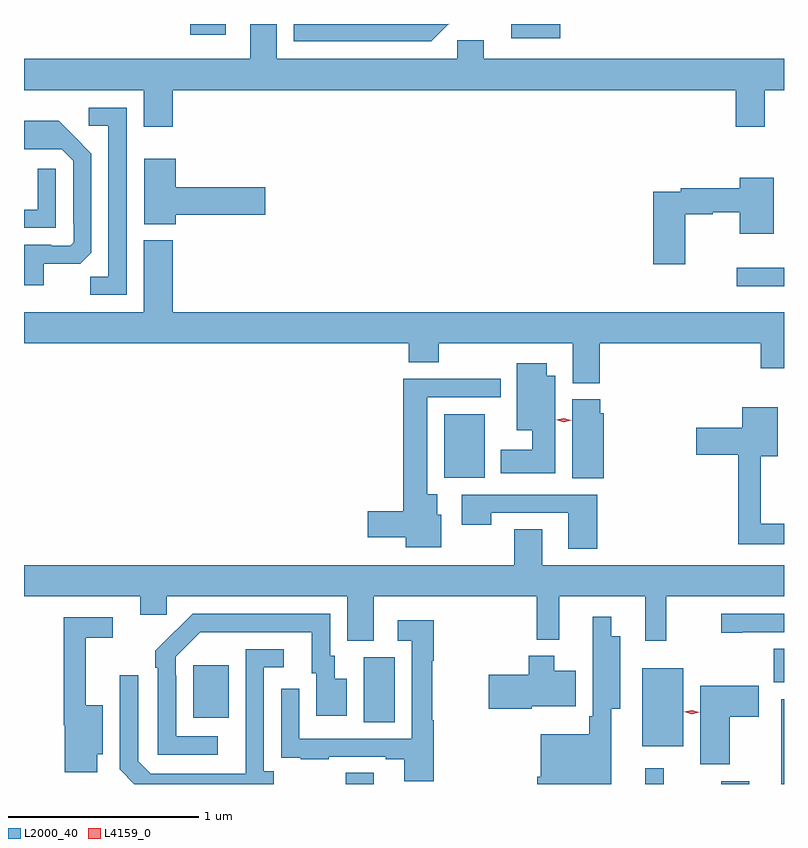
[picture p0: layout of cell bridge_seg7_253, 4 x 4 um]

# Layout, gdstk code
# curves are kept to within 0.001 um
import gdstk
lib = gdstk.Library(unit=1e-6, precision=1e-09)
def R(c, l, rs):  # rectangles x0, y0, x1, y1
    for r in rs: c.add(gdstk.rectangle(r[:2], r[2:], *l))
def P(c, l, *ps):  # polygons
    for p in ps: c.add(gdstk.Polygon(p, *l))
L2000_40 = (2000, 40)
L4159_0 = (4159, 0)

bridge_seg7_253 = lib.new_cell('bridge_seg7_253')
R(bridge_seg7_253, L2000_40, [(172.594,1036.924,172.741,1036.982), (174.17,1036.924,174.269,1037.007), (174.571,1036.924,174.718,1036.939), (174.887,1036.924,174.901,1037.371), (174.155,1037.123,174.37,1037.533), (172.688,1037.248,172.852,1037.592), (171.791,1037.273,171.979,1037.548), (174.848,1037.459,174.901,1037.635), (173.114,1038.536,173.326,1038.871), (174.651,1039.544,174.901,1039.641), (173.466,1040.85,173.723,1040.924), (171.775,1040.868,171.964,1040.924)])
P(bridge_seg7_253, L2000_40, [(173.135,1040.923),(173.136,1040.922),(173.138,1040.924),(172.32,1040.924),(172.32,1040.832),(173.044,1040.832)],
  [(171.683,1040.576),(174.647,1040.576),(174.647,1040.382),(174.799,1040.382),(174.799,1040.576),(174.901,1040.576),(174.901,1040.74),(173.32,1040.74),(173.32,1040.838),(173.181,1040.838),(173.181,1040.74),(172.231,1040.74),(172.231,1040.924),(172.091,1040.924),(172.091,1040.74),(170.901,1040.74),(170.901,1040.576),(171.53,1040.576),(171.53,1040.382),(171.683,1040.382)],
  [(171.441,1040.484),(171.243,1040.484),(171.243,1040.388),(171.345,1040.388),(171.345,1039.595),(171.25,1039.595),(171.25,1039.5),(171.441,1039.5)],
  [(171.004,1039.661),(171.196,1039.661),(171.255,1039.72),(171.255,1040.242),(171.083,1040.416),(170.901,1040.416),(170.901,1040.264),(171.099,1040.265),(171.159,1040.205),(171.159,1039.876),(171.162,1039.876),(171.162,1039.776),(171.144,1039.758),(171.044,1039.758),(171.044,1039.762),(170.901,1039.762),(170.901,1039.55),(171.004,1039.55)],
  [(171.7,1039.919),(172.171,1039.919),(172.171,1040.066),(171.7,1040.066),(171.7,1040.215),(171.533,1040.215),(171.533,1039.871),(171.7,1039.871)],
  [(171.069,1040.161),(170.973,1040.161),(170.973,1039.947),(170.901,1039.947),(170.901,1039.851),(171.069,1039.851)],
  [(174.382,1039.924),(174.525,1039.924),(174.525,1039.932),(174.668,1039.932),(174.668,1039.82),(174.847,1039.82),(174.847,1040.116),(174.668,1040.116),(174.668,1040.06),(174.358,1040.06),(174.358,1040.04),(174.212,1040.04),(174.212,1039.659),(174.382,1039.659)],
  [(173.93,1039.244),(174.779,1039.244),(174.779,1039.113),(174.901,1039.113),(174.901,1039.408),(171.683,1039.408),(171.683,1039.786),(171.53,1039.786),(171.53,1039.408),(170.901,1039.408),(170.901,1039.244),(172.925,1039.244),(172.925,1039.145),(173.085,1039.145),(173.085,1039.244),(173.789,1039.244),(173.789,1039.033),(173.93,1039.033)],
  [(173.698,1039.072),(173.653,1039.072),(173.653,1039.138),(173.495,1039.138),(173.495,1038.785),(173.576,1038.785),(173.576,1038.682),(173.411,1038.682),(173.411,1038.56),(173.698,1038.56)],
  [(173.098,1038.342),(173.077,1038.342),(173.077,1038.448),(173.023,1038.448),(173.023,1038.96),(173.41,1038.96),(173.41,1039.058),(172.898,1039.058),(172.898,1038.359),(172.71,1038.359),(172.71,1038.224),(172.91,1038.224),(172.91,1038.17),(173.098,1038.17)],
  [(173.952,1038.876),(173.933,1038.876),(173.933,1038.948),(173.786,1038.948),(173.786,1038.532),(173.952,1038.532)],
  [(174.901,1038.295),(174.779,1038.295),(174.779,1038.65),(174.868,1038.65),(174.868,1038.907),(174.68,1038.907),(174.68,1038.798),(174.438,1038.798),(174.438,1038.656),(174.661,1038.656),(174.661,1038.186),(174.901,1038.186)],
  [(173.918,1038.447),(173.205,1038.447),(173.205,1038.288),(173.361,1038.288),(173.361,1038.351),(173.765,1038.351),(173.765,1038.162),(173.918,1038.162)],
  [(170.901,1037.912),(171.512,1037.912),(171.512,1037.814),(171.651,1037.814),(171.651,1037.912),(172.601,1037.912),(172.601,1037.677),(172.741,1037.677),(172.741,1037.912),(173.599,1037.912),(173.599,1037.684),(173.717,1037.684),(173.717,1037.912),(174.17,1037.912),(174.17,1037.679),(174.28,1037.679),(174.28,1037.912),(174.901,1037.912),(174.901,1038.076),(173.629,1038.076),(173.629,1038.266),(173.482,1038.266),(173.482,1038.076),(170.901,1038.076)],
  [(171.922,1037.175),(171.702,1037.175),(171.702,1037.495),(171.699,1037.495),(171.699,1037.595),(171.828,1037.724),(172.415,1037.724),(172.415,1037.508),(172.439,1037.508),(172.439,1037.283),(172.6,1037.283),(172.6,1037.479),(172.537,1037.479),(172.537,1037.598),(172.512,1037.598),(172.512,1037.82),(171.788,1037.82),(171.591,1037.625),(171.591,1037.537),(171.606,1037.537),(171.606,1037.079),(171.922,1037.079)],
  [(174.682,1037.724),(174.901,1037.724),(174.901,1037.82),(174.57,1037.82),(174.57,1037.719),(174.682,1037.719)],
  [(173.992,1037.321),(174.04,1037.321),(174.04,1037.701),(173.993,1037.701),(173.993,1037.803),(173.895,1037.803),(173.895,1037.281),(173.875,1037.281),(173.875,1037.185),(173.622,1037.185),(173.622,1036.963),(173.602,1036.963),(173.602,1036.924),(173.992,1036.924)],
  [(171.286,1037.081),(171.316,1037.081),(171.316,1037.338),(171.227,1037.338),(171.227,1037.694),(171.367,1037.694),(171.367,1037.802),(171.109,1037.802),(171.109,1037.234),(171.116,1037.234),(171.116,1036.986),(171.286,1036.986)],
  [(173.057,1037.26),(173.05,1037.26),(173.05,1037.572),(173.057,1037.572),(173.057,1037.785),(172.869,1037.785),(172.869,1037.679),(172.941,1037.679),(172.941,1037.163),(172.35,1037.163),(172.35,1037.425),(172.254,1037.425),(172.254,1037.17),(172.255,1037.17),(172.255,1037.061),(172.357,1037.061),(172.357,1037.055),(172.505,1037.055),(172.505,1037.067),(172.805,1037.067),(172.805,1037.055),(172.901,1037.055),(172.901,1036.938),(173.057,1036.938)],
  [(172.216,1036.99),(172.164,1036.99),(172.164,1037.538),(172.267,1037.538),(172.267,1037.634),(172.068,1037.634),(172.067,1036.977),(171.567,1036.977),(171.501,1037.043),(171.501,1037.497),(171.405,1037.497),(171.405,1037.001),(171.482,1036.924),(172.216,1036.924)],
  [(173.574,1037.333),(173.806,1037.333),(173.806,1037.521),(173.692,1037.521),(173.692,1037.599),(173.558,1037.599),(173.558,1037.499),(173.346,1037.499),(173.346,1037.321),(173.574,1037.321)],
  [(174.616,1037.278),(174.769,1037.278),(174.769,1037.44),(174.461,1037.44),(174.461,1037.027),(174.616,1037.027)])
P(bridge_seg7_253, L4159_0, [(174.416,1037.292),(174.376,1037.303),(174.376,1037.303),(174.376,1037.303),(174.416,1037.312),(174.456,1037.302),(174.456,1037.302),(174.456,1037.302)],
  [(173.742,1038.829),(173.702,1038.841),(173.702,1038.841),(173.702,1038.841),(173.742,1038.849),(173.782,1038.838),(173.782,1038.838),(173.782,1038.838)])

lib.write_gds('bridge_seg7_253.gds')
